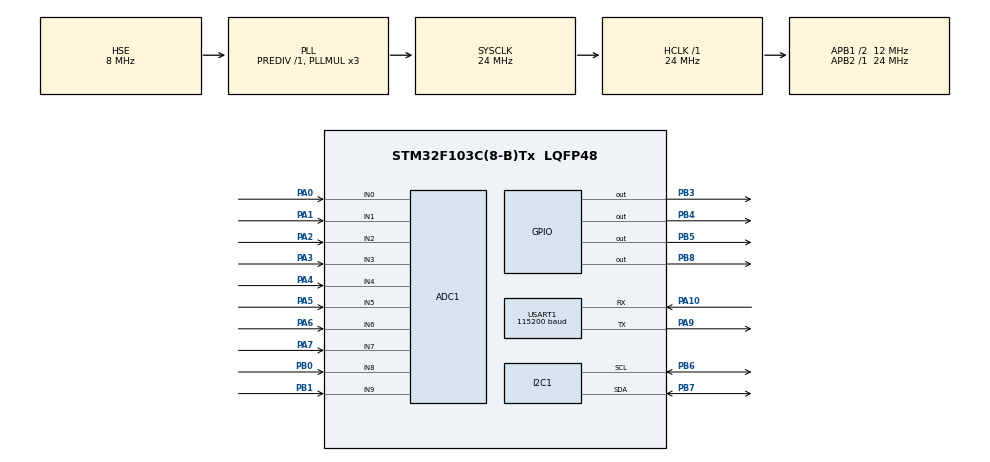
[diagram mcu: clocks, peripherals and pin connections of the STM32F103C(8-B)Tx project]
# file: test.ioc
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ADC1.Channel-1\#ChannelRegularConversion=ADC_CHANNEL_0
ADC1.Channel-10\#ChannelRegularConversion=ADC_CHANNEL_9
ADC1.Channel-2\#ChannelRegularConversion=ADC_CHANNEL_1
ADC1.Channel-3\#ChannelRegularConversion=ADC_CHANNEL_2
ADC1.Channel-4\#ChannelRegularConversion=ADC_CHANNEL_3
ADC1.Channel-5\#ChannelRegularConversion=ADC_CHANNEL_4
ADC1.Channel-6\#ChannelRegularConversion=ADC_CHANNEL_5
ADC1.Channel-7\#ChannelRegularConversion=ADC_CHANNEL_6
ADC1.Channel-8\#ChannelRegularConversion=ADC_CHANNEL_7
ADC1.Channel-9\#ChannelRegularConversion=ADC_CHANNEL_8
ADC1.ContinuousConvMode=ENABLE
ADC1.DiscontinuousConvMode=DISABLE
ADC1.EnableInjectedConversion=DISABLE
ADC1.NbrOfConversion=10
ADC1.NbrOfConversionFlag=1
ADC1.Rank-1\#ChannelRegularConversion=1
ADC1.Rank-10\#ChannelRegularConversion=10
ADC1.Rank-2\#ChannelRegularConversion=2
ADC1.Rank-3\#ChannelRegularConversion=3
ADC1.Rank-4\#ChannelRegularConversion=4
ADC1.Rank-5\#ChannelRegularConversion=5
ADC1.Rank-6\#ChannelRegularConversion=6
ADC1.Rank-7\#ChannelRegularConversion=7
ADC1.Rank-8\#ChannelRegularConversion=8
ADC1.Rank-9\#ChannelRegularConversion=9
ADC1.SamplingTime-1\#ChannelRegularConversion=ADC_SAMPLETIME_239CYCLES_5
ADC1.SamplingTime-10\#ChannelRegularConversion=ADC_SAMPLETIME_239CYCLES_5
ADC1.SamplingTime-2\#ChannelRegularConversion=ADC_SAMPLETIME_239CYCLES_5
ADC1.SamplingTime-3\#ChannelRegularConversion=ADC_SAMPLETIME_239CYCLES_5
ADC1.SamplingTime-4\#ChannelRegularConversion=ADC_SAMPLETIME_239CYCLES_5
ADC1.SamplingTime-5\#ChannelRegularConversion=ADC_SAMPLETIME_239CYCLES_5
ADC1.SamplingTime-6\#ChannelRegularConversion=ADC_SAMPLETIME_239CYCLES_5
ADC1.SamplingTime-7\#ChannelRegularConversion=ADC_SAMPLETIME_239CYCLES_5
ADC1.SamplingTime-8\#ChannelRegularConversion=ADC_SAMPLETIME_239CYCLES_5
ADC1.SamplingTime-9\#ChannelRegularConversion=ADC_SAMPLETIME_239CYCLES_5
ADC1.master=1
ADC2.Channel-0\#ChannelRegularConversion=ADC_CHANNEL_0
ADC2.Channel-1\#ChannelRegularConversion=ADC_CHANNEL_1
ADC2.ContinuousConvMode=ENABLE
ADC2.NbrOfConversion=2
ADC2.NbrOfConversionFlag=1
ADC2.Rank-0\#ChannelRegularConversion=1
ADC2.Rank-1\#ChannelRegularConversion=2
ADC2.SamplingTime-0\#ChannelRegularConversion=ADC_SAMPLETIME_239CYCLES_5
ADC2.SamplingTime-1\#ChannelRegularConversion=ADC_SAMPLETIME_239CYCLES_5
Dma.ADC1.0.Direction=DMA_PERIPH_TO_MEMORY
Dma.ADC1.0.Instance=DMA1_Channel1
Dma.ADC1.0.MemDataAlignment=DMA_MDATAALIGN_HALFWORD
Dma.ADC1.0.MemInc=DMA_MINC_ENABLE
Dma.ADC1.0.Mode=DMA_CIRCULAR
Dma.ADC1.0.PeriphDataAlignment=DMA_PDATAALIGN_HALFWORD
Dma.ADC1.0.PeriphInc=DMA_PINC_DISABLE
Dma.ADC1.0.Priority=DMA_PRIORITY_LOW
Dma.Request0=ADC1
Dma.Request1=USART1_RX
Dma.Request2=USART1_TX
Dma.USART1_RX.1.Direction=DMA_PERIPH_TO_MEMORY
Dma.USART1_RX.1.Instance=DMA1_Channel5
Dma.USART1_RX.1.MemDataAlignment=DMA_MDATAALIGN_BYTE
Dma.USART1_RX.1.MemInc=DMA_MINC_ENABLE
Dma.USART1_RX.1.Mode=DMA_NORMAL
Dma.USART1_RX.1.PeriphDataAlignment=DMA_PDATAALIGN_BYTE
Dma.USART1_RX.1.PeriphInc=DMA_PINC_DISABLE
Dma.USART1_RX.1.Priority=DMA_PRIORITY_LOW
Dma.USART1_TX.2.Direction=DMA_MEMORY_TO_PERIPH
Dma.USART1_TX.2.Instance=DMA1_Channel4
Dma.USART1_TX.2.MemDataAlignment=DMA_MDATAALIGN_BYTE
Dma.USART1_TX.2.MemInc=DMA_MINC_ENABLE
Dma.USART1_TX.2.Mode=DMA_CIRCULAR
Dma.USART1_TX.2.PeriphDataAlignment=DMA_PDATAALIGN_BYTE
Dma.USART1_TX.2.PeriphInc=DMA_PINC_DISABLE
Dma.USART1_TX.2.Priority=DMA_PRIORITY_LOW
Mcu.Family=STM32F1
Mcu.Name=STM32F103C(8-B)Tx
Mcu.Package=LQFP48
NVIC.DMA1_Channel1_IRQn=true\:0\:0\:false\:false\:true\:false\:true\:true
NVIC.DMA1_Channel4_IRQn=true\:0\:0\:false\:false\:true\:false\:true\:true
NVIC.DMA1_Channel5_IRQn=true\:0\:0\:false\:false\:true\:false\:true\:true
NVIC.PriorityGroup=NVIC_PRIORITYGROUP_4
NVIC.USART1_IRQn=true\:0\:0\:false\:false\:true\:true\:true\:true
PA0-WKUP.Signal=ADCx_IN0
PA1.Signal=ADCx_IN1
PA10.Mode=Asynchronous
PA10.Signal=USART1_RX
PA13.Mode=Serial_Wire
PA13.Signal=SYS_JTMS-SWDIO
PA14.Mode=Serial_Wire
PA14.Signal=SYS_JTCK-SWCLK
PA2.Signal=ADCx_IN2
PA3.Signal=ADCx_IN3
PA4.Signal=ADCx_IN4
PA5.Signal=ADCx_IN5
PA6.Signal=ADCx_IN6
PA7.Signal=ADCx_IN7
PA9.Mode=Asynchronous
PA9.Signal=USART1_TX
PB0.Signal=ADCx_IN8
PB1.Signal=ADCx_IN9
PB3.Signal=GPIO_Output
PB4.Signal=GPIO_Output
PB5.Signal=GPIO_Output
PB6.Mode=I2C
PB6.Signal=I2C1_SCL
PB7.Mode=I2C
PB7.Signal=I2C1_SDA
PB8.Signal=GPIO_Output
PC14-OSC32_IN.Mode=LSE-External-Oscillator
PC14-OSC32_IN.Signal=RCC_OSC32_IN
PC15-OSC32_OUT.Mode=LSE-External-Oscillator
PC15-OSC32_OUT.Signal=RCC_OSC32_OUT
PD0-OSC_IN.Mode=HSE-External-Oscillator
PD0-OSC_IN.Signal=RCC_OSC_IN
PD1-OSC_OUT.Mode=HSE-External-Oscillator
PD1-OSC_OUT.Signal=RCC_OSC_OUT
ProjectManager.HeapSize=0x200
ProjectManager.StackSize=0x400
ProjectManager.TargetToolchain=MDK-ARM V5.32
RCC.AHBFreq_Value=24000000
RCC.APB1CLKDivider=RCC_HCLK_DIV2
RCC.APB1Freq_Value=12000000
RCC.APB1TimFreq_Value=24000000
RCC.APB2Freq_Value=24000000
RCC.APB2TimFreq_Value=24000000
RCC.HCLKFreq_Value=24000000
RCC.PLLMUL=RCC_PLL_MUL3
RCC.PLLSourceVirtual=RCC_PLLSOURCE_HSE
RCC.SYSCLKFreq_VALUE=24000000
RCC.SYSCLKSource=RCC_SYSCLKSOURCE_PLLCLK
RCC.USBFreq_Value=24000000
SH.ADCx_IN0.0=ADC1_IN0,IN0
SH.ADCx_IN0.1=ADC2_IN0,IN0
SH.ADCx_IN1.0=ADC1_IN1,IN1
SH.ADCx_IN1.1=ADC2_IN1,IN1
SH.ADCx_IN2.0=ADC1_IN2,IN2
SH.ADCx_IN3.0=ADC1_IN3,IN3
SH.ADCx_IN4.0=ADC1_IN4,IN4
SH.ADCx_IN5.0=ADC1_IN5,IN5
SH.ADCx_IN6.0=ADC1_IN6,IN6
SH.ADCx_IN7.0=ADC1_IN7,IN7
SH.ADCx_IN8.0=ADC1_IN8,IN8
SH.ADCx_IN9.0=ADC1_IN9,IN9
USART1.BaudRate=115200
USART1.VirtualMode=VM_ASYNC
board=custom

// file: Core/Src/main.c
/* USER CODE BEGIN Header */
/**
  ******************************************************************************
  * @file           : main.c
  * @brief          : Main program body
  ******************************************************************************
  * @attention
  *
  * Copyright (c) 2024 STMicroelectronics.
  * All rights reserved.
  *
  * This software is licensed under terms that can be found in the LICENSE file
  * in the root directory of this software component.
  * If no LICENSE file comes with this software, it is provided AS-IS.
  *
  ******************************************************************************
  */
/* USER CODE END Header */
#include "main.h"
#include "adc.h"
#include "dma.h"
#include "i2c.h"
#include "usart.h"
#include "gpio.h"
#include "mpu6050.h"
/* USER CODE BEGIN Includes */
#include "stdint.h"
#include "stdio.h"
#include "string.h"
#include "stdio.h"//

/* USER CODE END Includes */

/* USER CODE BEGIN PTD */
#define ADC_MAX_NUM 4*5 //3组ADC,每组最多存储5个值
  uint8_t buff;
uint16_t ADC_Values[ADC_MAX_NUM]={0};
uint8_t RxBuff[1];      //进入中断接收数据的数组
uint8_t DataBuff[5000]; //保存接收到的数据的数组
int RxLine=0;           //接收到的数据长度
uint8_t singalset = 0;
uint8_t C1512set = 0;
uint8_t C118set = 0;
/* USER CODE END PTD */

void SystemClock_Config(void);

/* USER CODE BEGIN 0 */

float pitch,yaw,roll;

void dong_start_adc(){

    //启动DMA
  HAL_ADC_Start_DMA(&hadc1,(uint32_t *)ADC_Values,ADC_MAX_NUM);

}
uint8_t usart1_buf[4]={0};
//void HAL_UARTEx_RxEventCallback(UART_HandleTypeDef *huart, uint16_t Size)
//{
//
//}

/* USER CODE END 0 */

int main(void)
{
  /* USER CODE BEGIN 1 */
//	uint8_t value = 0;
//  uint16_t AdcValue = 0;
//	char str[30];

//	uint16_t ADC_Value1,i;
	uint16_t AD_Buf[10]={0};//两个通道采集数据存在这个数组里面
	//float press1;//两个通道采集数据存在这个数组里面
	//float press2;
	//float press3;
//	float press4;
	int  x1 ;
	int  x2 ;
	int  x3 ;
	int  x4 ;
	int  x5 ;
	int  x6 ;
	int  x7 ;
	int  x8 ;
	int  x9 ;
	int  x10 ;
//	int  x11 ;
//	int  x12 ;
  int singal1,singal2,singal3,singal4,singal5;
	int C15[8],C14[8],C13[8],C12[8],C11[8],C10[8],C9[8],C8[8];
//	short x;
  //short y;
//  short z;
//	int16_t ax, ay, az;
  //int16_t gx, gy, gz;
//	float ypr[3]; // yaw pitch roll
	int n = 1;

  /* USER CODE END 1 */

  /* MCU Configuration--------------------------------------------------------*/

  /* Reset of all peripherals, Initializes the Flash interface and the Systick. */
  HAL_Init();

  /* Configure the system clock */
  SystemClock_Config();

  /* Initialize all configured peripherals */
  MX_GPIO_Init();
  MX_DMA_Init();
  MX_ADC1_Init();
  MX_USART1_UART_Init();
  MX_ADC2_Init();
  MX_I2C1_Init();
  /* USER CODE BEGIN 2 */
  int ret=0;
	do{
		ret=MPU6050_DMP_init();
		printf("ret=%d\n",ret);
	  }
	while(ret);

  //dong_start_adc();
  HAL_ADCEx_Calibration_Start(&hadc1);
  HAL_ADC_Start_DMA(&hadc1,(uint32_t *)&AD_Buf,10);//开启ADC的DMA，采集的数据直接放入AD_Buf这个数组里，操作简单。
  HAL_UART_Receive_IT(&huart1, (uint8_t *)RxBuff, 1); //打开串口中断接收

  /* USER CODE END 2 */

  /* Infinite loop */
  /* USER CODE BEGIN WHILE */
  while (1)
  {

	  MPU6050_DMP_Get_Date(&pitch,&roll,&yaw);
	  printf("pitch=%f yaw=%f roll=%f\n",pitch,roll,yaw);

	 x1 = AD_Buf[0];
	 x2 = AD_Buf[1];
	 x3 = AD_Buf[2];
	 x4 = AD_Buf[3];
	 x5 = AD_Buf[4];
	 x6 = AD_Buf[5];
	 x7 = AD_Buf[6];
	 x8 = AD_Buf[7];
	 x9 = AD_Buf[8];
	 x10 = AD_Buf[9];
//

		if(singalset == 1&&C1512set == 0&&C118set == 0)
		{
	//	获得单点压力值
				if(n%5==1)
				{//c7
				HAL_GPIO_WritePin(GPIOB, GPIO_PIN_3, GPIO_PIN_SET);
				HAL_GPIO_WritePin(GPIOB, GPIO_PIN_4, GPIO_PIN_SET);
				HAL_GPIO_WritePin(GPIOB, GPIO_PIN_5, GPIO_PIN_SET);
				HAL_GPIO_WritePin(GPIOB, GPIO_PIN_8, GPIO_PIN_RESET);
				HAL_Delay(1);
				singal5 = x1;
				}
				if(n%5==2)
				{//c4
				HAL_GPIO_WritePin(GPIOB, GPIO_PIN_3, GPIO_PIN_RESET);
				HAL_GPIO_WritePin(GPIOB, GPIO_PIN_4, GPIO_PIN_RESET);
				HAL_GPIO_WritePin(GPIOB, GPIO_PIN_5, GPIO_PIN_SET);
				HAL_GPIO_WritePin(GPIOB, GPIO_PIN_8, GPIO_PIN_RESET);
				HAL_Delay(1);
				singal1 = x1;
				}
				if(n%5==3)
				{//c2
				HAL_GPIO_WritePin(GPIOB, GPIO_PIN_3, GPIO_PIN_RESET);
				HAL_GPIO_WritePin(GPIOB, GPIO_PIN_4, GPIO_PIN_SET);
				HAL_GPIO_WritePin(GPIOB, GPIO_PIN_5, GPIO_PIN_RESET);
				HAL_GPIO_WritePin(GPIOB, GPIO_PIN_8, GPIO_PIN_RESET);
				HAL_Delay(1);
				singal2 = x1;
				}
				if(n%5==4)
				{//c1
				HAL_GPIO_WritePin(GPIOB, GPIO_PIN_3, GPIO_PIN_SET);
				HAL_GPIO_WritePin(GPIOB, GPIO_PIN_4, GPIO_PIN_RESET);
				HAL_GPIO_WritePin(GPIOB, GPIO_PIN_5, GPIO_PIN_RESET);
				HAL_GPIO_WritePin(GPIOB, GPIO_PIN_8, GPIO_PIN_RESET);
				HAL_Delay(1);
				singal3 = x1;
				}
				if(n%5==0)
				{//c0
				HAL_GPIO_WritePin(GPIOB, GPIO_PIN_3, GPIO_PIN_RESET);
				HAL_GPIO_WritePin(GPIOB, GPIO_PIN_4, GPIO_PIN_RESET);
				HAL_GPIO_WritePin(GPIOB, GPIO_PIN_5, GPIO_PIN_RESET);
				HAL_GPIO_WritePin(GPIOB, GPIO_PIN_8, GPIO_PIN_RESET);
				HAL_Delay(1);
				singal4 = x1;
				printf("%d %d %d %d %d \r\n",singal1,singal2,singal3,singal4,singal5);
				}
		}

		if(singalset == 0&&C1512set == 1&&C118set == 0)
		{
				if(n%4==1)
				{
				HAL_GPIO_WritePin(GPIOB, GPIO_PIN_8, GPIO_PIN_SET);
				HAL_GPIO_WritePin(GPIOB, GPIO_PIN_3, GPIO_PIN_SET);
				HAL_GPIO_WritePin(GPIOB, GPIO_PIN_4, GPIO_PIN_SET);
				HAL_GPIO_WritePin(GPIOB, GPIO_PIN_5, GPIO_PIN_SET);
				HAL_Delay(1);
				C12[0]=x3,C12[1]=x4,C12[2]=x5,C12[3]=x6,C12[4]=x7,C12[5]=x8,C12[6]=x9,C12[7]=x10;
				printf("C12 %d %d %d %d %d %d %d %d \r\n",C12[0],C12[1],C12[2],C12[3],C12[4],C12[5],C12[6],C12[7]);

				}
				if(n%4==2)
				{
				HAL_GPIO_WritePin(GPIOB, GPIO_PIN_3, GPIO_PIN_RESET);
				HAL_GPIO_WritePin(GPIOB, GPIO_PIN_4, GPIO_PIN_SET);
				HAL_GPIO_WritePin(GPIOB, GPIO_PIN_5, GPIO_PIN_SET);
				HAL_GPIO_WritePin(GPIOB, GPIO_PIN_8, GPIO_PIN_SET);
				HAL_Delay(1);
				 C15[0]=x3,C15[1]=x4,C15[2]=x5,C15[3]=x6,C15[4]=x7,C15[5]=x8,C15[6]=x9,C15[7]=x10;
				printf("C15 %d %d %d %d %d %d %d %d \r\n",C15[0],C15[1],C15[2],C15[3],C15[4],C15[5],C15[6],C15[7]);

				}
				if(n%4==3)
				{
				HAL_GPIO_WritePin(GPIOB, GPIO_PIN_3, GPIO_PIN_SET);
				HAL_GPIO_WritePin(GPIOB, GPIO_PIN_4, GPIO_PIN_RESET);
				HAL_GPIO_WritePin(GPIOB, GPIO_PIN_5, GPIO_PIN_SET);
				HAL_GPIO_WritePin(GPIOB, GPIO_PIN_8, GPIO_PIN_SET);
				HAL_Delay(1);
				C14[0]=x3,C14[1]=x4,C14[2]=x5,C14[3]=x6,C14[4]=x7,C14[5]=x8,C14[6]=x9,C14[7]=x10;
				printf("C14 %d %d %d %d %d %d %d %d \r\n",C14[0],C14[1],C14[2],C14[3],C14[4],C14[5],C14[6],C14[7]);

				}
				if(n%4==0)
				{
				HAL_GPIO_WritePin(GPIOB, GPIO_PIN_3, GPIO_PIN_RESET);
				HAL_GPIO_WritePin(GPIOB, GPIO_PIN_4, GPIO_PIN_RESET);
				HAL_GPIO_WritePin(GPIOB, GPIO_PIN_5, GPIO_PIN_SET);
				HAL_GPIO_WritePin(GPIOB, GPIO_PIN_8, GPIO_PIN_SET);
				HAL_Delay(1);
				C13[0]=x3,C13[1]=x4,C13[2]=x5,C13[3]=x6,C13[4]=x7,C13[5]=x8,C13[6]=x9,C13[7]=x10;
				printf("C13 %d %d %d %d %d %d %d %d \r\n",C13[0],C13[1],C13[2],C13[3],C13[4],C13[5],C13[6],C13[7]);
				}
		}
		if(singalset == 0&&C1512set == 0&&C118set == 1)
		{
				if(n%4==1)
				{
				 HAL_GPIO_WritePin(GPIOB, GPIO_PIN_3, GPIO_PIN_SET);
				HAL_GPIO_WritePin(GPIOB, GPIO_PIN_4, GPIO_PIN_SET);
				HAL_GPIO_WritePin(GPIOB, GPIO_PIN_5, GPIO_PIN_RESET);
				HAL_GPIO_WritePin(GPIOB, GPIO_PIN_8, GPIO_PIN_SET);
				HAL_Delay(1);
				C8[0]=x3,C8[1]=x4,C8[2]=x5,C8[3]=x6,C8[4]=x7,C8[5]=x8,C8[6]=x9,C8[7]=x10;
				printf("C8 %d %d %d %d %d %d %d %d \r\n",C8[0],C8[1],C8[2],C8[3],C8[4],C8[5],C8[6],C8[7]);

				}
				if(n%4==2)
				{
				HAL_GPIO_WritePin(GPIOB, GPIO_PIN_3, GPIO_PIN_RESET);
				HAL_GPIO_WritePin(GPIOB, GPIO_PIN_4, GPIO_PIN_SET);
				HAL_GPIO_WritePin(GPIOB, GPIO_PIN_5, GPIO_PIN_RESET);
				HAL_GPIO_WritePin(GPIOB, GPIO_PIN_8, GPIO_PIN_SET);
				HAL_Delay(1);
				 C11[0]=x3,C11[1]=x4,C11[2]=x5,C11[3]=x6,C11[4]=x7,C11[5]=x8,C11[6]=x9,C11[7]=x10;
				printf("C11 %d %d %d %d %d %d %d %d \r\n",C11[0],C11[1],C11[2],C11[3],C11[4],C11[5],C11[6],C11[7]);

				}
				if(n%4==3)
				{
				HAL_GPIO_WritePin(GPIOB, GPIO_PIN_3, GPIO_PIN_SET);
				HAL_GPIO_WritePin(GPIOB, GPIO_PIN_4, GPIO_PIN_RESET);
				HAL_GPIO_WritePin(GPIOB, GPIO_PIN_5, GPIO_PIN_RESET);
				HAL_GPIO_WritePin(GPIOB, GPIO_PIN_8, GPIO_PIN_SET);
				HAL_Delay(1);
				C10[0]=x3,C10[1]=x4,C10[2]=x5,C10[3]=x6,C10[4]=x7,C10[5]=x8,C10[6]=x9,C10[7]=x10;
				printf("C10 %d %d %d %d %d %d %d %d \r\n",C10[0],C10[1],C10[2],C10[3],C10[4],C10[5],C10[6],C10[7]);

				}
				if(n%4==0)
				{
				HAL_GPIO_WritePin(GPIOB, GPIO_PIN_3, GPIO_PIN_RESET);
				HAL_GPIO_WritePin(GPIOB, GPIO_PIN_4, GPIO_PIN_RESET);
				HAL_GPIO_WritePin(GPIOB, GPIO_PIN_5, GPIO_PIN_RESET);
				HAL_GPIO_WritePin(GPIOB, GPIO_PIN_8, GPIO_PIN_SET);
				HAL_Delay(1);
				C9[0]=x3,C9[1]=x4,C9[2]=x5,C9[3]=x6,C9[4]=x7,C9[5]=x8,C9[6]=x9,C9[7]=x10;
				printf("C9 %d %d %d %d %d %d %d %d \r\n",C9[0],C9[1],C9[2],C9[3],C9[4],C9[5],C9[6],C9[7]);
				}
		}

		if(singalset == 1&&C1512set == 1&&C118set == 0)
		{
				if(n%9==1)
				{//c7
				HAL_GPIO_WritePin(GPIOB, GPIO_PIN_3, GPIO_PIN_SET);
				HAL_GPIO_WritePin(GPIOB, GPIO_PIN_4, GPIO_PIN_SET);
				HAL_GPIO_WritePin(GPIOB, GPIO_PIN_5, GPIO_PIN_SET);
				HAL_GPIO_WritePin(GPIOB, GPIO_PIN_8, GPIO_PIN_RESET);
				HAL_Delay(1);
				C12[0]=x3,C12[1]=x4,C12[2]=x5,C12[3]=x6,C12[4]=x7,C12[5]=x8,C12[6]=x9,C12[7]=x10;
				printf("C12 %d %d %d %d %d %d %d %d \r\n",C12[0],C12[1],C12[2],C12[3],C12[4],C12[5],C12[6],C12[7]);
				}
				if(n%9==2)
				{//c4
				HAL_GPIO_WritePin(GPIOB, GPIO_PIN_3, GPIO_PIN_RESET);
				HAL_GPIO_WritePin(GPIOB, GPIO_PIN_4, GPIO_PIN_RESET);
				HAL_GPIO_WritePin(GPIOB, GPIO_PIN_5, GPIO_PIN_SET);
				HAL_GPIO_WritePin(GPIOB, GPIO_PIN_8, GPIO_PIN_RESET);
				HAL_Delay(1);
				singal1 = x1;
				}
				if(n%9==3)
				{//c2
				HAL_GPIO_WritePin(GPIOB, GPIO_PIN_3, GPIO_PIN_RESET);
				HAL_GPIO_WritePin(GPIOB, GPIO_PIN_4, GPIO_PIN_SET);
				HAL_GPIO_WritePin(GPIOB, GPIO_PIN_5, GPIO_PIN_RESET);
				HAL_GPIO_WritePin(GPIOB, GPIO_PIN_8, GPIO_PIN_RESET);
				HAL_Delay(1);
				singal2 = x1;
				}
				if(n%9==4)
				{//c1
				HAL_GPIO_WritePin(GPIOB, GPIO_PIN_3, GPIO_PIN_SET);
				HAL_GPIO_WritePin(GPIOB, GPIO_PIN_4, GPIO_PIN_RESET);
				HAL_GPIO_WritePin(GPIOB, GPIO_PIN_5, GPIO_PIN_RESET);
				HAL_GPIO_WritePin(GPIOB, GPIO_PIN_8, GPIO_PIN_RESET);
				HAL_Delay(1);
				singal3 = x1;
				}
				if(n%9==5)
				{//c0
				HAL_GPIO_WritePin(GPIOB, GPIO_PIN_3, GPIO_PIN_RESET);
				HAL_GPIO_WritePin(GPIOB, GPIO_PIN_4, GPIO_PIN_RESET);
				HAL_GPIO_WritePin(GPIOB, GPIO_PIN_5, GPIO_PIN_RESET);
				HAL_GPIO_WritePin(GPIOB, GPIO_PIN_8, GPIO_PIN_RESET);
				HAL_Delay(1);
				singal4 = x1;
				}
				if(n%9==6)
				{//C15
				HAL_GPIO_WritePin(GPIOB, GPIO_PIN_8, GPIO_PIN_SET);
				HAL_GPIO_WritePin(GPIOB, GPIO_PIN_3, GPIO_PIN_SET);
				HAL_GPIO_WritePin(GPIOB, GPIO_PIN_4, GPIO_PIN_SET);
				HAL_GPIO_WritePin(GPIOB, GPIO_PIN_5, GPIO_PIN_SET);
				HAL_Delay(1);
				singal5 = x1;
				printf("%d %d %d %d %d \r\n",singal1,singal2,singal3,singal4,singal5);
				//C12[0]=x3,C12[1]=x4,C12[2]=x5,C12[3]=x6,C12[4]=x7,C12[5]=x8,C12[6]=x9,C12[7]=x10;
				}
				if(n%9==7)
				{//c14
				HAL_GPIO_WritePin(GPIOB, GPIO_PIN_3, GPIO_PIN_RESET);
				HAL_GPIO_WritePin(GPIOB, GPIO_PIN_4, GPIO_PIN_SET);
				HAL_GPIO_WritePin(GPIOB, GPIO_PIN_5, GPIO_PIN_SET);
				HAL_GPIO_WritePin(GPIOB, GPIO_PIN_8, GPIO_PIN_SET);
				HAL_Delay(1);
				 C15[0]=x3,C15[1]=x4,C15[2]=x5,C15[3]=x6,C15[4]=x7,C15[5]=x8,C15[6]=x9,C15[7]=x10;
				printf("C15 %d %d %d %d %d %d %d %d \r\n",C15[0],C15[1],C15[2],C15[3],C15[4],C15[5],C15[6],C15[7]);

				}
				if(n%9==8)
				{//c13
				HAL_GPIO_WritePin(GPIOB, GPIO_PIN_3, GPIO_PIN_SET);
				HAL_GPIO_WritePin(GPIOB, GPIO_PIN_4, GPIO_PIN_RESET);
				HAL_GPIO_WritePin(GPIOB, GPIO_PIN_5, GPIO_PIN_SET);
				HAL_GPIO_WritePin(GPIOB, GPIO_PIN_8, GPIO_PIN_SET);
				HAL_Delay(1);
				C14[0]=x3,C14[1]=x4,C14[2]=x5,C14[3]=x6,C14[4]=x7,C14[5]=x8,C14[6]=x9,C14[7]=x10;
				printf("C14 %d %d %d %d %d %d %d %d \r\n",C14[0],C14[1],C14[2],C14[3],C14[4],C14[5],C14[6],C14[7]);

				}
				if(n%9==0)
				{//c12
				HAL_GPIO_WritePin(GPIOB, GPIO_PIN_3, GPIO_PIN_RESET);
				HAL_GPIO_WritePin(GPIOB, GPIO_PIN_4, GPIO_PIN_RESET);
				HAL_GPIO_WritePin(GPIOB, GPIO_PIN_5, GPIO_PIN_SET);
				HAL_GPIO_WritePin(GPIOB, GPIO_PIN_8, GPIO_PIN_SET);
				HAL_Delay(1);
				C13[0]=x3,C13[1]=x4,C13[2]=x5,C13[3]=x6,C13[4]=x7,C13[5]=x8,C13[6]=x9,C13[7]=x10;
				printf("C13 %d %d %d %d %d %d %d %d \r\n",C13[0],C13[1],C13[2],C13[3],C13[4],C13[5],C13[6],C13[7]);

				}
		}

		if(singalset == 0&&C1512set == 1&&C118set == 1)
		{
				if(n%8==1)
				{//C15
				HAL_GPIO_WritePin(GPIOB, GPIO_PIN_8, GPIO_PIN_SET);
				HAL_GPIO_WritePin(GPIOB, GPIO_PIN_3, GPIO_PIN_SET);
				HAL_GPIO_WritePin(GPIOB, GPIO_PIN_4, GPIO_PIN_SET);
				HAL_GPIO_WritePin(GPIOB, GPIO_PIN_5, GPIO_PIN_SET);
				HAL_Delay(1);
				C8[0]=x3,C8[1]=x4,C8[2]=x5,C8[3]=x6,C8[4]=x7,C8[5]=x8,C8[6]=x9,C8[7]=x10;
				printf("C8 %d %d %d %d %d %d %d %d \r\n",C8[0],C8[1],C8[2],C8[3],C8[4],C8[5],C8[6],C8[7]);
				}
				if(n%8==2)
				{//c14
				HAL_GPIO_WritePin(GPIOB, GPIO_PIN_3, GPIO_PIN_RESET);
				HAL_GPIO_WritePin(GPIOB, GPIO_PIN_4, GPIO_PIN_SET);
				HAL_GPIO_WritePin(GPIOB, GPIO_PIN_5, GPIO_PIN_SET);
				HAL_GPIO_WritePin(GPIOB, GPIO_PIN_8, GPIO_PIN_SET);
				HAL_Delay(1);
				C15[0]=x3,C15[1]=x4,C15[2]=x5,C15[3]=x6,C15[4]=x7,C15[5]=x8,C15[6]=x9,C15[7]=x10;
				printf("C15 %d %d %d %d %d %d %d %d \r\n",C15[0],C15[1],C15[2],C15[3],C15[4],C15[5],C15[6],C15[7]);

				}
				if(n%8==3)
				{//c13
				HAL_GPIO_WritePin(GPIOB, GPIO_PIN_3, GPIO_PIN_SET);
				HAL_GPIO_WritePin(GPIOB, GPIO_PIN_4, GPIO_PIN_RESET);
				HAL_GPIO_WritePin(GPIOB, GPIO_PIN_5, GPIO_PIN_SET);
				HAL_GPIO_WritePin(GPIOB, GPIO_PIN_8, GPIO_PIN_SET);
				HAL_Delay(1);
				C14[0]=x3,C14[1]=x4,C14[2]=x5,C14[3]=x6,C14[4]=x7,C14[5]=x8,C14[6]=x9,C14[7]=x10;
				printf("C14 %d %d %d %d %d %d %d %d \r\n",C14[0],C14[1],C14[2],C14[3],C14[4],C14[5],C14[6],C14[7]);

				}
				if(n%8==4)
				{//c12
				HAL_GPIO_WritePin(GPIOB, GPIO_PIN_3, GPIO_PIN_RESET);
				HAL_GPIO_WritePin(GPIOB, GPIO_PIN_4, GPIO_PIN_RESET);
				HAL_GPIO_WritePin(GPIOB, GPIO_PIN_5, GPIO_PIN_SET);
				HAL_GPIO_WritePin(GPIOB, GPIO_PIN_8, GPIO_PIN_SET);
				HAL_Delay(1);
				C13[0]=x3,C13[1]=x4,C13[2]=x5,C13[3]=x6,C13[4]=x7,C13[5]=x8,C13[6]=x9,C13[7]=x10;
				printf("C13 %d %d %d %d %d %d %d %d \r\n",C13[0],C13[1],C13[2],C13[3],C13[4],C13[5],C13[6],C13[7]);

				}
				if(n%8==5)
				{//c11
				 HAL_GPIO_WritePin(GPIOB, GPIO_PIN_3, GPIO_PIN_SET);
				HAL_GPIO_WritePin(GPIOB, GPIO_PIN_4, GPIO_PIN_SET);
				HAL_GPIO_WritePin(GPIOB, GPIO_PIN_5, GPIO_PIN_RESET);
				HAL_GPIO_WritePin(GPIOB, GPIO_PIN_8, GPIO_PIN_SET);
				HAL_Delay(1);
				C12[0]=x3,C12[1]=x4,C12[2]=x5,C12[3]=x6,C12[4]=x7,C12[5]=x8,C12[6]=x9,C12[7]=x10;
				printf("C12 %d %d %d %d %d %d %d %d \r\n",C12[0],C12[1],C12[2],C12[3],C12[4],C12[5],C12[6],C12[7]);

				}
				if(n%8==6)
				{//c10
				HAL_GPIO_WritePin(GPIOB, GPIO_PIN_3, GPIO_PIN_RESET);
				HAL_GPIO_WritePin(GPIOB, GPIO_PIN_4, GPIO_PIN_SET);
				HAL_GPIO_WritePin(GPIOB, GPIO_PIN_5, GPIO_PIN_RESET);
				HAL_GPIO_WritePin(GPIOB, GPIO_PIN_8, GPIO_PIN_SET);
				HAL_Delay(1);
				 C11[0]=x3,C11[1]=x4,C11[2]=x5,C11[3]=x6,C11[4]=x7,C11[5]=x8,C11[6]=x9,C11[7]=x10;
				printf("C11 %d %d %d %d %d %d %d %d \r\n",C11[0],C11[1],C11[2],C11[3],C11[4],C11[5],C11[6],C11[7]);

				}
				if(n%8==7)
				{//c9
				HAL_GPIO_WritePin(GPIOB, GPIO_PIN_3, GPIO_PIN_SET);
				HAL_GPIO_WritePin(GPIOB, GPIO_PIN_4, GPIO_PIN_RESET);
				HAL_GPIO_WritePin(GPIOB, GPIO_PIN_5, GPIO_PIN_RESET);
				HAL_GPIO_WritePin(GPIOB, GPIO_PIN_8, GPIO_PIN_SET);
				HAL_Delay(1);
				C10[0]=x3,C10[1]=x4,C10[2]=x5,C10[3]=x6,C10[4]=x7,C10[5]=x8,C10[6]=x9,C10[7]=x10;
				printf("C10 %d %d %d %d %d %d %d %d \r\n",C10[0],C10[1],C10[2],C10[3],C10[4],C10[5],C10[6],C10[7]);

				}
				if(n%8==0)
				{//c8
				HAL_GPIO_WritePin(GPIOB, GPIO_PIN_3, GPIO_PIN_RESET);
				HAL_GPIO_WritePin(GPIOB, GPIO_PIN_4, GPIO_PIN_RESET);
				HAL_GPIO_WritePin(GPIOB, GPIO_PIN_5, GPIO_PIN_RESET);
				HAL_GPIO_WritePin(GPIOB, GPIO_PIN_8, GPIO_PIN_SET);
				HAL_Delay(1);
				C9[0]=x3,C9[1]=x4,C9[2]=x5,C9[3]=x6,C9[4]=x7,C9[5]=x8,C9[6]=x9,C9[7]=x10;
				printf("C9 %d %d %d %d %d %d %d %d \r\n",C9[0],C9[1],C9[2],C9[3],C9[4],C9[5],C9[6],C9[7]);

				}
		}

		if(singalset == 1&&C1512set == 0&&C118set == 1)
		{
			 if(n%9==1)
				{//c7
				HAL_GPIO_WritePin(GPIOB, GPIO_PIN_3, GPIO_PIN_SET);
				HAL_GPIO_WritePin(GPIOB, GPIO_PIN_4, GPIO_PIN_SET);
				HAL_GPIO_WritePin(GPIOB, GPIO_PIN_5, GPIO_PIN_SET);
				HAL_GPIO_WritePin(GPIOB, GPIO_PIN_8, GPIO_PIN_RESET);
				HAL_Delay(1);
				C8[0]=x3,C8[1]=x4,C8[2]=x5,C8[3]=x6,C8[4]=x7,C8[5]=x8,C8[6]=x9,C8[7]=x10;
				printf("C8 %d %d %d %d %d %d %d %d \r\n",C8[0],C8[1],C8[2],C8[3],C8[4],C8[5],C8[6],C8[7]);
				}
				if(n%9==2)
				{//c4
				HAL_GPIO_WritePin(GPIOB, GPIO_PIN_3, GPIO_PIN_RESET);
				HAL_GPIO_WritePin(GPIOB, GPIO_PIN_4, GPIO_PIN_RESET);
				HAL_GPIO_WritePin(GPIOB, GPIO_PIN_5, GPIO_PIN_SET);
				HAL_GPIO_WritePin(GPIOB, GPIO_PIN_8, GPIO_PIN_RESET);
				HAL_Delay(1);
				singal1 = x1;
				}
				if(n%9==3)
				{//c2
				HAL_GPIO_WritePin(GPIOB, GPIO_PIN_3, GPIO_PIN_RESET);
				HAL_GPIO_WritePin(GPIOB, GPIO_PIN_4, GPIO_PIN_SET);
				HAL_GPIO_WritePin(GPIOB, GPIO_PIN_5, GPIO_PIN_RESET);
				HAL_GPIO_WritePin(GPIOB, GPIO_PIN_8, GPIO_PIN_RESET);
				HAL_Delay(1);
				singal2 = x1;
				}
				if(n%9==4)
				{//c1
				HAL_GPIO_WritePin(GPIOB, GPIO_PIN_3, GPIO_PIN_SET);
				HAL_GPIO_WritePin(GPIOB, GPIO_PIN_4, GPIO_PIN_RESET);
				HAL_GPIO_WritePin(GPIOB, GPIO_PIN_5, GPIO_PIN_RESET);
				HAL_GPIO_WritePin(GPIOB, GPIO_PIN_8, GPIO_PIN_RESET);
				HAL_Delay(1);
				singal3 = x1;
				}
				if(n%9==5)
				{//c0
				HAL_GPIO_WritePin(GPIOB, GPIO_PIN_3, GPIO_PIN_RESET);
				HAL_GPIO_WritePin(GPIOB, GPIO_PIN_4, GPIO_PIN_RESET);
				HAL_GPIO_WritePin(GPIOB, GPIO_PIN_5, GPIO_PIN_RESET);
				HAL_GPIO_WritePin(GPIOB, GPIO_PIN_8, GPIO_PIN_RESET);
				HAL_Delay(1);
				singal4 = x1;
				}
				if(n%9==6)
				{//c11
				 HAL_GPIO_WritePin(GPIOB, GPIO_PIN_3, GPIO_PIN_SET);
				HAL_GPIO_WritePin(GPIOB, GPIO_PIN_4, GPIO_PIN_SET);
				HAL_GPIO_WritePin(GPIOB, GPIO_PIN_5, GPIO_PIN_RESET);
				HAL_GPIO_WritePin(GPIOB, GPIO_PIN_8, GPIO_PIN_SET);
				HAL_Delay(1);
				singal5 = x1;
				printf("%d %d %d %d %d \r\n",singal1,singal2,singal3,singal4,singal5);
				}
				if(n%9==7)
				{//c10
				HAL_GPIO_WritePin(GPIOB, GPIO_PIN_3, GPIO_PIN_RESET);
				HAL_GPIO_WritePin(GPIOB, GPIO_PIN_4, GPIO_PIN_SET);
				HAL_GPIO_WritePin(GPIOB, GPIO_PIN_5, GPIO_PIN_RESET);
				HAL_GPIO_WritePin(GPIOB, GPIO_PIN_8, GPIO_PIN_SET);
				HAL_Delay(1);
				 C11[0]=x3,C11[1]=x4,C11[2]=x5,C11[3]=x6,C11[4]=x7,C11[5]=x8,C11[6]=x9,C11[7]=x10;
				printf("C11 %d %d %d %d %d %d %d %d \r\n",C11[0],C11[1],C11[2],C11[3],C11[4],C11[5],C11[6],C11[7]);

				}
				if(n%9==8)
				{//c9
				HAL_GPIO_WritePin(GPIOB, GPIO_PIN_3, GPIO_PIN_SET);
				HAL_GPIO_WritePin(GPIOB, GPIO_PIN_4, GPIO_PIN_RESET);
				HAL_GPIO_WritePin(GPIOB, GPIO_PIN_5, GPIO_PIN_RESET);
				HAL_GPIO_WritePin(GPIOB, GPIO_PIN_8, GPIO_PIN_SET);
				HAL_Delay(1);
				C10[0]=x3,C10[1]=x4,C10[2]=x5,C10[3]=x6,C10[4]=x7,C10[5]=x8,C10[6]=x9,C10[7]=x10;
				printf("C10 %d %d %d %d %d %d %d %d \r\n",C10[0],C10[1],C10[2],C10[3],C10[4],C10[5],C10[6],C10[7]);

				}
				if(n%9==0)
				{//c8
				HAL_GPIO_WritePin(GPIOB, GPIO_PIN_3, GPIO_PIN_RESET);
				HAL_GPIO_WritePin(GPIOB, GPIO_PIN_4, GPIO_PIN_RESET);
				HAL_GPIO_WritePin(GPIOB, GPIO_PIN_5, GPIO_PIN_RESET);
				HAL_GPIO_WritePin(GPIOB, GPIO_PIN_8, GPIO_PIN_SET);
				HAL_Delay(1);
				C9[0]=x3,C9[1]=x4,C9[2]=x5,C9[3]=x6,C9[4]=x7,C9[5]=x8,C9[6]=x9,C9[7]=x10;
				printf("C9 %d %d %d %d %d %d %d %d \r\n",C9[0],C9[1],C9[2],C9[3],C9[4],C9[5],C9[6],C9[7]);
				}
		}

		if(singalset == 1&&C1512set == 1&&C118set == 1)
		{

				if(n%13==1)
				{//c7
				HAL_GPIO_WritePin(GPIOB, GPIO_PIN_3, GPIO_PIN_SET);
				HAL_GPIO_WritePin(GPIOB, GPIO_PIN_4, GPIO_PIN_SET);
				HAL_GPIO_WritePin(GPIOB, GPIO_PIN_5, GPIO_PIN_SET);
				HAL_GPIO_WritePin(GPIOB, GPIO_PIN_8, GPIO_PIN_RESET);
				HAL_Delay(1);
				C12[0]=x3,C12[1]=x4,C12[2]=x5,C12[3]=x6,C12[4]=x7,C12[5]=x8,C12[6]=x9,C12[7]=x10;
				printf("C12 %d %d %d %d %d %d %d %d \r\n",C12[0],C12[1],C12[2],C12[3],C12[4],C12[5],C12[6],C12[7]);
				}
				if(n%13==2)
				{//c4
				HAL_GPIO_WritePin(GPIOB, GPIO_PIN_3, GPIO_PIN_RESET);
				HAL_GPIO_WritePin(GPIOB, GPIO_PIN_4, GPIO_PIN_RESET);
				HAL_GPIO_WritePin(GPIOB, GPIO_PIN_5, GPIO_PIN_SET);
				HAL_GPIO_WritePin(GPIOB, GPIO_PIN_8, GPIO_PIN_RESET);
				HAL_Delay(1);
				singal1 = x1;
				}
				if(n%13==3)
				{//c2
				HAL_GPIO_WritePin(GPIOB, GPIO_PIN_3, GPIO_PIN_RESET);
				HAL_GPIO_WritePin(GPIOB, GPIO_PIN_4, GPIO_PIN_SET);
				HAL_GPIO_WritePin(GPIOB, GPIO_PIN_5, GPIO_PIN_RESET);
				HAL_GPIO_WritePin(GPIOB, GPIO_PIN_8, GPIO_PIN_RESET);
				HAL_Delay(1);
				singal2 = x1;
				}
				if(n%13==4)
				{//c1
				HAL_GPIO_WritePin(GPIOB, GPIO_PIN_3, GPIO_PIN_SET);
				HAL_GPIO_WritePin(GPIOB, GPIO_PIN_4, GPIO_PIN_RESET);
				HAL_GPIO_WritePin(GPIOB, GPIO_PIN_5, GPIO_PIN_RESET);
				HAL_GPIO_WritePin(GPIOB, GPIO_PIN_8, GPIO_PIN_RESET);
				HAL_Delay(1);
				singal3 = x1;
				}
				if(n%13==5)
				{//c0
				HAL_GPIO_WritePin(GPIOB, GPIO_PIN_3, GPIO_PIN_RESET);
				HAL_GPIO_WritePin(GPIOB, GPIO_PIN_4, GPIO_PIN_RESET);
				HAL_GPIO_WritePin(GPIOB, GPIO_PIN_5, GPIO_PIN_RESET);
				HAL_GPIO_WritePin(GPIOB, GPIO_PIN_8, GPIO_PIN_RESET);
				HAL_Delay(1);
				singal4 = x1;
				}
				if(n%13==6)
				{//c11
				 HAL_GPIO_WritePin(GPIOB, GPIO_PIN_3, GPIO_PIN_SET);
				HAL_GPIO_WritePin(GPIOB, GPIO_PIN_4, GPIO_PIN_SET);
				HAL_GPIO_WritePin(GPIOB, GPIO_PIN_5, GPIO_PIN_RESET);
				HAL_GPIO_WritePin(GPIOB, GPIO_PIN_8, GPIO_PIN_SET);
				HAL_Delay(1);
				singal5 = x1;
				printf("%d %d %d %d %d %d \r\n",singal1,singal2,singal3,singal4,singal5,n);
				}
				if(n%13==7)
				{//c10
				HAL_GPIO_WritePin(GPIOB, GPIO_PIN_3, GPIO_PIN_RESET);
				HAL_GPIO_WritePin(GPIOB, GPIO_PIN_4, GPIO_PIN_SET);
				HAL_GPIO_WritePin(GPIOB, GPIO_PIN_5, GPIO_PIN_RESET);
				HAL_GPIO_WritePin(GPIOB, GPIO_PIN_8, GPIO_PIN_SET);
				HAL_Delay(1);
				 C11[0]=x3,C11[1]=x4,C11[2]=x5,C11[3]=x6,C11[4]=x7,C11[5]=x8,C11[6]=x9,C11[7]=x10;
				printf("C11 %d %d %d %d %d %d %d %d \r\n",C11[0],C11[1],C11[2],C11[3],C11[4],C11[5],C11[6],C11[7]);

				}
				if(n%13==8)
				{//c9
				HAL_GPIO_WritePin(GPIOB, GPIO_PIN_3, GPIO_PIN_SET);
				HAL_GPIO_WritePin(GPIOB, GPIO_PIN_4, GPIO_PIN_RESET);
				HAL_GPIO_WritePin(GPIOB, GPIO_PIN_5, GPIO_PIN_RESET);
				HAL_GPIO_WritePin(GPIOB, GPIO_PIN_8, GPIO_PIN_SET);
				HAL_Delay(1);
				C10[0]=x3,C10[1]=x4,C10[2]=x5,C10[3]=x6,C10[4]=x7,C10[5]=x8,C10[6]=x9,C10[7]=x10;
				printf("C10 %d %d %d %d %d %d %d %d \r\n",C10[0],C10[1],C10[2],C10[3],C10[4],C10[5],C10[6],C10[7]);

				}
				if(n%13==9)
				{//c8
				HAL_GPIO_WritePin(GPIOB, GPIO_PIN_3, GPIO_PIN_RESET);
				HAL_GPIO_WritePin(GPIOB, GPIO_PIN_4, GPIO_PIN_RESET);
				HAL_GPIO_WritePin(GPIOB, GPIO_PIN_5, GPIO_PIN_RESET);
				HAL_GPIO_WritePin(GPIOB, GPIO_PIN_8, GPIO_PIN_SET);
				HAL_Delay(1);
				C9[0]=x3,C9[1]=x4,C9[2]=x5,C9[3]=x6,C9[4]=x7,C9[5]=x8,C9[6]=x9,C9[7]=x10;
				printf("C9 %d %d %d %d %d %d %d %d \r\n",C9[0],C9[1],C9[2],C9[3],C9[4],C9[5],C9[6],C9[7]);

				}
				if(n%13==10)
				{//C15
				HAL_GPIO_WritePin(GPIOB, GPIO_PIN_8, GPIO_PIN_SET);
				HAL_GPIO_WritePin(GPIOB, GPIO_PIN_3, GPIO_PIN_SET);
				HAL_GPIO_WritePin(GPIOB, GPIO_PIN_4, GPIO_PIN_SET);
				HAL_GPIO_WritePin(GPIOB, GPIO_PIN_5, GPIO_PIN_SET);
				HAL_Delay(9);
				C8[0]=x3,C8[1]=x4,C8[2]=x5,C8[3]=x6,C8[4]=x7,C8[5]=x8,C8[6]=x9,C8[7]=x10;
				printf("C8 %d %d %d %d %d %d %d %d \r\n",C8[0],C8[1],C8[2],C8[3],C8[4],C8[5],C8[6],C8[7]);
				}
				if(n%13==11)
				{//c14
				HAL_GPIO_WritePin(GPIOB, GPIO_PIN_3, GPIO_PIN_RESET);
				HAL_GPIO_WritePin(GPIOB, GPIO_PIN_4, GPIO_PIN_SET);
				HAL_GPIO_WritePin(GPIOB, GPIO_PIN_5, GPIO_PIN_SET);
				HAL_GPIO_WritePin(GPIOB, GPIO_PIN_8, GPIO_PIN_SET);
				HAL_Delay(1);
				C15[0]=x3,C15[1]=x4,C15[2]=x5,C15[3]=x6,C15[4]=x7,C15[5]=x8,C15[6]=x9,C15[7]=x10;
				printf("C15 %d %d %d %d %d %d %d %d \r\n",C15[0],C15[1],C15[2],C15[3],C15[4],C15[5],C15[6],C15[7]);

				}
				if(n%13==12)
				{//c13
				HAL_GPIO_WritePin(GPIOB, GPIO_PIN_3, GPIO_PIN_SET);
				HAL_GPIO_WritePin(GPIOB, GPIO_PIN_4, GPIO_PIN_RESET);
				HAL_GPIO_WritePin(GPIOB, GPIO_PIN_5, GPIO_PIN_SET);
				HAL_GPIO_WritePin(GPIOB, GPIO_PIN_8, GPIO_PIN_SET);
				HAL_Delay(1);
				C14[0]=x3,C14[1]=x4,C14[2]=x5,C14[3]=x6,C14[4]=x7,C14[5]=x8,C14[6]=x9,C14[7]=x10;
				printf("C14 %d %d %d %d %d %d %d %d \r\n",C14[0],C14[1],C14[2],C14[3],C14[4],C14[5],C14[6],C14[7]);

				}
				if(n%13==0)
				{//c12
				HAL_GPIO_WritePin(GPIOB, GPIO_PIN_3, GPIO_PIN_RESET);
				HAL_GPIO_WritePin(GPIOB, GPIO_PIN_4, GPIO_PIN_RESET);
				HAL_GPIO_WritePin(GPIOB, GPIO_PIN_5, GPIO_PIN_SET);
				HAL_GPIO_WritePin(GPIOB, GPIO_PIN_8, GPIO_PIN_SET);
				HAL_Delay(1);
				C13[0]=x3,C13[1]=x4,C13[2]=x5,C13[3]=x6,C13[4]=x7,C13[5]=x8,C13[6]=x9,C13[7]=x10;
				printf("C13 %d %d %d %d %d %d %d %d \r\n",C13[0],C13[1],C13[2],C13[3],C13[4],C13[5],C13[6],C13[7]);

				}
		}

			n = n + 1;
    /* USER CODE END WHILE */

  }
}

void SystemClock_Config(void)
{
  RCC_OscInitTypeDef RCC_OscInitStruct = {0};
  RCC_ClkInitTypeDef RCC_ClkInitStruct = {0};
  RCC_PeriphCLKInitTypeDef PeriphClkInit = {0};

  /** Initializes the RCC Oscillators according to the specified parameters
  * in the RCC_OscInitTypeDef structure.
  */
  RCC_OscInitStruct.OscillatorType = RCC_OSCILLATORTYPE_HSE;
  RCC_OscInitStruct.HSEState = RCC_HSE_ON;
  RCC_OscInitStruct.HSEPredivValue = RCC_HSE_PREDIV_DIV1;
  RCC_OscInitStruct.HSIState = RCC_HSI_ON;
  RCC_OscInitStruct.PLL.PLLState = RCC_PLL_ON;
  RCC_OscInitStruct.PLL.PLLSource = RCC_PLLSOURCE_HSE;
  RCC_OscInitStruct.PLL.PLLMUL = RCC_PLL_MUL3;
  if (HAL_RCC_OscConfig(&RCC_OscInitStruct) != HAL_OK)
  {
    Error_Handler();
  }

  /** Initializes the CPU, AHB and APB buses clocks
  */
  RCC_ClkInitStruct.ClockType = RCC_CLOCKTYPE_HCLK|RCC_CLOCKTYPE_SYSCLK
                              |RCC_CLOCKTYPE_PCLK1|RCC_CLOCKTYPE_PCLK2;
  RCC_ClkInitStruct.SYSCLKSource = RCC_SYSCLKSOURCE_PLLCLK;
  RCC_ClkInitStruct.AHBCLKDivider = RCC_SYSCLK_DIV1;
  RCC_ClkInitStruct.APB1CLKDivider = RCC_HCLK_DIV2;
  RCC_ClkInitStruct.APB2CLKDivider = RCC_HCLK_DIV1;

  if (HAL_RCC_ClockConfig(&RCC_ClkInitStruct, FLASH_LATENCY_0) != HAL_OK)
  {
    Error_Handler();
  }
  PeriphClkInit.PeriphClockSelection = RCC_PERIPHCLK_ADC;
  PeriphClkInit.AdcClockSelection = RCC_ADCPCLK2_DIV2;
  if (HAL_RCCEx_PeriphCLKConfig(&PeriphClkInit) != HAL_OK)
  {
    Error_Handler();
  }
}

/* USER CODE BEGIN 4 */
void HAL_UART_RxCpltCallback(UART_HandleTypeDef *UartHandle)
{
    RxLine++;                      //每接收到一个数据，进入回调数据长度加1
    DataBuff[RxLine-1]=RxBuff[0];  //把每次接收到的数据保存到缓存数组

    if(RxBuff[0]==0xff)            //接收结束标志位，这个数据可以自定义，根据实际需求，这里只做示例使用，不一定是0xff
    {
        if(DataBuff[0]==0x01)     //单点发送
				{
				  singalset = 1;
				}
				if(DataBuff[0]==0x02)
				{
				  singalset = 0;
				}
				if(DataBuff[1]==0x01)     //一个阵列发送
				{
				  C1512set = 1;
				}
				if(DataBuff[1]==0x02)
				{
				  C1512set = 0;
				}
				if(DataBuff[2]==0x01)     //另一个阵列发送
				{
				  C118set = 1;
				}
				if(DataBuff[2]==0x02)
				{
				  C118set = 0;
				}
//			printf("RXLen=%d\r\n",RxLine);
//        for(int i=0;i<RxLine;i++)
//			{
//			  printf("UART DataBuff[%d] = 0x%x\r\n",i,DataBuff[i]);
//			}

        memset(DataBuff,0,sizeof(DataBuff));  //清空缓存数组
        RxLine=0;  //清空接收长度
    }

    RxBuff[0]=0;
    HAL_UART_Receive_IT(&huart1, (uint8_t *)RxBuff, 1); //每接收一个数据，就打开一次串口中断接收，否则只会接收一个数据就停止接收
}
/* USER CODE END 4 */

void Error_Handler(void)
{
  __disable_irq();
  while (1)
  {
  }
}
